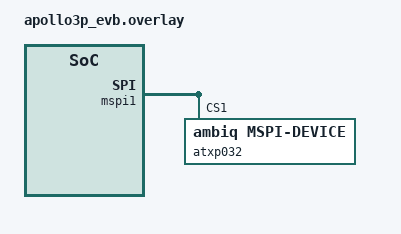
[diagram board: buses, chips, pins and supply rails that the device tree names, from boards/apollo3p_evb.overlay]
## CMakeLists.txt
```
# SPDX-License-Identifier: Apache-2.0

cmake_minimum_required(VERSION 3.28.0)
find_package(Zephyr REQUIRED HINTS $ENV{ZEPHYR_BASE})
project(mspi_flash)

FILE(GLOB app_sources src/*.c)
target_sources(app PRIVATE ${app_sources})

if(CONFIG_FLASH_MSPI)
  target_include_directories(app PRIVATE ${ZEPHYR_BASE}/include/zephyr/drivers)
  target_include_directories(app PRIVATE ${ZEPHYR_BASE}/drivers/mspi)
endif()
```

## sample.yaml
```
sample:
  name: MSPI Flash Sample

common:
  tags:
    - mspi
    - flash
  harness: console
  harness_config:
    type: multi_line
    ordered: true
    regex:
      - "Test 1: Flash erase"
      - "Flash erase succeeded!"
      - "Test 2: Flash write"
      - "Attempting to write 4 bytes"
      - "Data read matches data written. Good!!"

tests:
  sample.drivers.mspi.flash:
    filter: dt_compat_enabled("jedec,spi-nor") or dt_compat_enabled("jedec,mspi-nor")
      or dt_compat_enabled("mspi-atxp032") or dt_compat_enabled("mspi-is25xX0xx")
    platform_exclude:
      - hifive_unmatched/fu740/s7
      - hifive_unmatched/fu740/u74
    platform_allow:
      - apollo3p_evb
      - apollo510_evb
      - arduino_giga_r1/stm32h747xx/m7
      - b_u585i_iot02a
      - stm32h573i_dk
      - stm32h735g_disco
      - stm32l496g_disco
      - stm32l562e_dk
    integration_platforms:
      - apollo3p_evb
      - apollo510_evb

  sample.drivers.mspi.flash.b_m2mem_pack1_mb1927_18ba:
    tags:
      - shield
    platform_allow:
      - nucleo_u3c5zi_q
    integration_platforms:
      - nucleo_u3c5zi_q
    extra_args: SHIELD=b_m2mem_pack1_mb1927_18ba

  sample.drivers.mspi.flash.b_m2mem_pack1_mb1927_33ba:
    tags:
      - shield
    platform_allow:
      - nucleo_u3c5zi_q
    integration_platforms:
      - nucleo_u3c5zi_q
    extra_args: SHIELD=b_m2mem_pack1_mb1927_33ba

  sample.drivers.mspi.flash.b_m2mem_pack1_mb1928_33la:
    tags:
      - shield
    platform_allow:
      - nucleo_u3c5zi_q
    integration_platforms:
      - nucleo_u3c5zi_q
    extra_args: SHIELD=b_m2mem_pack1_mb1928_33la

  sample.drivers.mspi.flash.b_m2mem_pack1_mb1928_33lb:
    tags:
      - shield
    platform_allow:
      - nucleo_u3c5zi_q
    integration_platforms:
      - nucleo_u3c5zi_q
    extra_args: SHIELD=b_m2mem_pack1_mb1928_33lb

  sample.drivers.mspi.flash.memmap.stm32:
    filter: dt_compat_enabled("jedec,spi-nor") or dt_compat_enabled("jedec,mspi-nor")
    extra_configs:
      - CONFIG_MSPI_XIP=y
      - CONFIG_MSPI_DMA=n
    platform_allow:
      - b_u585i_iot02a
```

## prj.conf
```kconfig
CONFIG_STDOUT_CONSOLE=y
CONFIG_FLASH=y
CONFIG_MSPI=y
```

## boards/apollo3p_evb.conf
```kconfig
# Copyright (c) 2024 Ambiq Micro Inc. <www.ambiq.com>
# SPDX-License-Identifier: Apache-2.0

CONFIG_LOG=y
CONFIG_LOG_DEFAULT_LEVEL=0
CONFIG_MSPI_INIT_PRIORITY=40
CONFIG_FLASH_INIT_PRIORITY=50
CONFIG_PM_DEVICE=y
```

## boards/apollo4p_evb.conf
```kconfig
# Copyright (c) 2025, Ambiq Micro Inc. <www.ambiq.com>
# SPDX-License-Identifier: Apache-2.0

CONFIG_LOG=y
CONFIG_LOG_DEFAULT_LEVEL=0
CONFIG_MSPI_INIT_PRIORITY=40
CONFIG_FLASH_INIT_PRIORITY=50
CONFIG_PM_DEVICE=y
CONFIG_PM_DEVICE_RUNTIME=y
```

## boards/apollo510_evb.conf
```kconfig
# Copyright (c) 2025 Ambiq Micro Inc. <www.ambiq.com>
# SPDX-License-Identifier: Apache-2.0
CONFIG_LOG=y
CONFIG_LOG_DEFAULT_LEVEL=0
```

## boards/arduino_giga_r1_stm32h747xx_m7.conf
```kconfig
# Copyright (c) 2025 EXALT Technologies.
# SPDX-License-Identifier: Apache-2.0

CONFIG_LOG=y
CONFIG_MSPI_LOG_LEVEL_INF=y
```

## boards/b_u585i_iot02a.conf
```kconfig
# SPDX-FileCopyrightText: Copyright The Zephyr Project Contributors
# SPDX-License-Identifier: Apache-2.0

CONFIG_LOG=y
CONFIG_MSPI_LOG_LEVEL_INF=y
# below config is for Memory Mapped mode instead of DMA transfer
CONFIG_MSPI_DMA=n
CONFIG_MSPI_MEMMAP=y
```

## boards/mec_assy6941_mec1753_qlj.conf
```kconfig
CONFIG_LOG=y
CONFIG_MSPI_DMA=y
```

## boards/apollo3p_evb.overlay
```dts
/*
 * Copyright (c) 2024 Ambiq Micro Inc. <www.ambiq.com>
 *
 * SPDX-License-Identifier: Apache-2.0
 */

/ {
	aliases {
		flash0 = &atxp032;
	};
};

&gpio64_95 {
	status = "okay";
};

&gpio32_63 {
	status = "okay";
};

&mspi1 {
	pinctrl-0 = <&mspi1_default>;
	pinctrl-1 = <&mspi1_sleep>;
	pinctrl-2 = <&mspi1_psram>;
	pinctrl-3 = <&mspi1_flash>;
	pinctrl-names = "default", "sleep", "psram", "flash";
	status = "okay";

	ce-gpios = <&gpio64_95 5 GPIO_ACTIVE_LOW>,
		   <&gpio32_63 18 GPIO_ACTIVE_LOW>;

	cmdq-buffer-location = ".mspi_buff";
	cmdq-buffer-size = <256>;

	aps6404l: aps6404l@0 {
		compatible = "ambiq,mspi-device", "mspi-aps6404l";
		size = <DT_SIZE_M(64)>;
		reg = <0>;
		status = "disabled";
		mspi-max-frequency = <48000000>;
		mspi-io-mode = "MSPI_IO_MODE_QUAD";
		mspi-data-rate = "MSPI_DATA_RATE_SINGLE";
		mspi-hardware-ce-num = <0>;
		read-command = <0xeb>;
		write-command = <0x38>;
		command-length = "INSTR_1_BYTE";
		address-length = "ADDR_3_BYTE";
		rx-dummy = <6>;
		tx-dummy = <0>;
		memmap-config = <1 0 0 0>;
		ce-break-config = <1024 3>;
		ambiq,timing-config-mask = <3>;
		ambiq,timing-config = <0 6 0 0 0 0 0 0>;
	};

	atxp032: atxp032@1 {
		compatible = "ambiq,mspi-device", "mspi-atxp032";
		size = <DT_SIZE_M(32)>;
		reg = <1>;
		status = "okay";
		mspi-max-frequency = <48000000>;
		mspi-io-mode = "MSPI_IO_MODE_OCTAL";
		mspi-data-rate = "MSPI_DATA_RATE_SINGLE";
		mspi-hardware-ce-num = <0>;
		read-command = <0x0b>;
		write-command = <0x02>;
		command-length = "INSTR_1_BYTE";
		address-length = "ADDR_4_BYTE";
		rx-dummy = <8>;
		tx-dummy = <0>;
		memmap-config = <1 0 0 0>;
		ce-break-config = <0 0>;
		ambiq,timing-config-mask = <3>;
		ambiq,timing-config = <0 8 0 0 0 0 0 0>;
	};
};

&pinctrl {
	mspi1_sleep: mspi1_sleep {
		group1 {
			pinmux = <GPIO_P51>,
				 <GPIO_P52>,
				 <GPIO_P53>,
				 <GPIO_P54>,
				 <GPIO_P55>,
				 <GPIO_P56>,
				 <GPIO_P57>,
				 <GPIO_P58>,
				 <GPIO_P59>,
				 <GPIO_P69>,
				 <GPIO_P50>;
		};
	};

	mspi1_psram: mspi1_psram {
		group1 {
			pinmux = <MSPI1_0_P51>,
				 <MSPI1_1_P52>,
				 <MSPI1_2_P53>,
				 <MSPI1_3_P54>,
				 <MSPI1_4_P55>,
				 <MSPI1_5_P56>,
				 <MSPI1_6_P57>,
				 <MSPI1_7_P58>;
			drive-strength = "0.75";
			ambiq,iom-mspi = <0>;
			ambiq,iom-num = <1>;
		};

		group2 {
			pinmux = <MSPI1_8_P59>;
			drive-strength = "0.75";
			ambiq,iom-mspi = <0>;
			ambiq,iom-num = <2>;
		};

		group3 {
			pinmux = <NCE69_P69>;
			drive-strength = "1.0";
			ambiq,iom-mspi = <0>;
			ambiq,iom-num = <1>;
		};

		group4 {
			pinmux = <GPIO_P50>;
		};
	};

	mspi1_flash: mspi1_flash {
		group1 {
			pinmux = <MSPI1_0_P51>,
				 <MSPI1_1_P52>,
				 <MSPI1_2_P53>,
				 <MSPI1_3_P54>,
				 <MSPI1_4_P55>,
				 <MSPI1_5_P56>,
				 <MSPI1_6_P57>,
				 <MSPI1_7_P58>;
			drive-strength = "0.75";
			ambiq,iom-mspi = <0>;
			ambiq,iom-num = <1>;
		};

		group2 {
			pinmux = <MSPI1_8_P59>;
			drive-strength = "0.75";
			ambiq,iom-mspi = <0>;
			ambiq,iom-num = <2>;
		};

		group3 {
			pinmux = <NCE50_P50>;
			drive-strength = "1.0";
			ambiq,iom-mspi = <0>;
			ambiq,iom-num = <1>;
		};

		group4 {
			pinmux = <GPIO_P69>;
		};
	};
};
```

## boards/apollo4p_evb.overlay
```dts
/*
 * Copyright (c) 2024, Ambiq Micro Inc. <www.ambiq.com>
 *
 * SPDX-License-Identifier: Apache-2.0
 */

/ {
	aliases {
		flash0 = &atxp032;
	};
};

&gpio64_95 {
	status = "okay";
};

&gpio32_63 {
	status = "okay";
};

&mspi1 {
	pinctrl-0 = <&mspi1_default>;
	pinctrl-1 = <&mspi1_sleep>;
	pinctrl-2 = <&mspi1_flash>;
	pinctrl-names = "default","sleep","flash";
	status = "okay";

	ce-gpios = <&gpio64_95 25 GPIO_ACTIVE_LOW>;

	cmdq-buffer-location = ".mspi_buff";
	cmdq-buffer-size = <256>;

	dqs-support;

	atxp032: atxp032@0 {
		compatible = "ambiq,mspi-device", "mspi-atxp032";
		size = <DT_SIZE_M(32)>;
		reg = <0>;
		status = "okay";
		mspi-max-frequency = <48000000>;
		mspi-io-mode = "MSPI_IO_MODE_OCTAL";
		mspi-data-rate = "MSPI_DATA_RATE_SINGLE";
		mspi-hardware-ce-num = <0>;
		read-command = <0x0B>;
		write-command = <0x02>;
		command-length = "INSTR_1_BYTE";
		address-length = "ADDR_4_BYTE";
		rx-dummy = <8>;
		tx-dummy = <0>;
		xip-config = <0 0 0 0>;
		ce-break-config = <0 0>;
		ambiq,timing-config-mask = <3>;
		ambiq,timing-config = <0 8 0 0 0 0 16 0>;
		scramble-config = <0 0 0>;
		mspi-dqs-enable;
	};
};

&pinctrl {
	mspi1_sleep: mspi1_sleep{
		group1 {
			pinmux = <GPIO_P37>,
				 <GPIO_P38>,
				 <GPIO_P39>,
				 <GPIO_P40>,
				 <GPIO_P41>,
				 <GPIO_P42>,
				 <GPIO_P43>,
				 <GPIO_P44>,
				 <GPIO_P45>,
				 <GPIO_P89>;
		};
	};
	mspi1_flash: mspi1_flash{
		group1 {
			pinmux = <MSPI1_0_P37>,
				 <MSPI1_1_P38>,
				 <MSPI1_2_P39>,
				 <MSPI1_3_P40>,
				 <MSPI1_4_P41>,
				 <MSPI1_5_P42>,
				 <MSPI1_6_P43>,
				 <MSPI1_7_P44>,
				 <MSPI1_9_P46>;
			drive-strength = "1.0";
		};
		group2 {
			pinmux = <MSPI1_8_P45>;
			drive-strength = "1.0";
			ambiq,iom-nce-module = <0>;
			ambiq,iom-num = <2>;
		};
		group3 {
			pinmux = <NCE89_P89>;
			drive-strength = "0.5";
			ambiq,iom-num = <1>;
			ambiq,iom-nce-module = <34>;
		};
	};
};
```

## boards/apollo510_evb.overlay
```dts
/*
 * Copyright (c) 2025, Ambiq Micro Inc. <www.ambiq.com>
 *
 * SPDX-License-Identifier: Apache-2.0
 */

/ {
	aliases {
		flash0 = &is25wx064;
	};
};

&mspi1 {
	status = "okay";
};

&is25wx064 {
	status = "okay";
};
```

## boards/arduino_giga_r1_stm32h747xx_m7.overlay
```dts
/*
 * Copyright (c) 2025 EXALT Technologies.
 *
 * SPDX-License-Identifier: Apache-2.0
 */

/* Replace the quadspi by a "st,stm32-qspi-controller" compatible */
/delete-node/ &quadspi;

/ {
	aliases {
		/* The sample gets the DT_ALIAS(flash0) as the mspi device */
		flash0 = &n25q128a;
	};

	qspi_memory: qspi-memory@90000000 {
		compatible = "zephyr,memory-region";
		reg = <0x90000000 DT_SIZE_M(256)>;
		device_type = "memory";
		zephyr,memory-region = "QSPI";
		zephyr,memory-attr = <DT_MEM_ARM(ATTR_MPU_FLASH)>;
	};

	soc {
		quadspi: spi@52005000 {
			compatible = "st,stm32-qspi-controller";
			reg = <0x52005000 0x1000>, <0x90000000 DT_SIZE_M(256)>;
			interrupts = <92 0>;
			clocks = <&rcc STM32_CLOCK(AHB3, 14U)>;
			clock-names = "qspix";
			#address-cells = <1>;
			#size-cells = <0>;
			clock-frequency = <DT_FREQ_M(72)>;
			op-mode = "MSPI_OP_MODE_CONTROLLER";
			duplex = "MSPI_HALF_DUPLEX";
			pinctrl-0 = <&quadspi_clk_pf10 &quadspi_bk1_ncs_pg6
				     &quadspi_bk1_io0_pd11 &quadspi_bk1_io1_pd12
				     &quadspi_bk1_io2_pe2 &quadspi_bk1_io3_pf6>;
			pinctrl-names = "default";

			status = "okay";

			n25q128a: qspi-nor-flash@0 {
				compatible = "jedec,nor";
				reg = <0>;
				size = <DT_SIZE_M(128)>; /* 128 Mbits */

				mspi-max-frequency = <DT_FREQ_M((72))>;
				mspi-io-mode = "MSPI_IO_MODE_SINGLE";
				mspi-data-rate = "MSPI_DATA_RATE_SINGLE";
				mspi-hardware-ce-num = <0>;
				read-command = <0x0b>;
				write-command = <0x02>;
				command-length = "INSTR_1_BYTE";
				address-length = "ADDR_3_BYTE";
				rx-dummy = <8>;
				tx-dummy = <0>;
				jedec-id = [1f 89 01];
				status = "okay";

				partitions {
					compatible = "fixed-partitions";
					#address-cells = <1>;
					#size-cells = <1>;

					slot1_partition: partition@0 {
						reg = <0x00000000 DT_SIZE_M(1)>;
						label = "image-1";
					};

					storage_partition: partition@100000 {
						reg = <0x00100000 DT_SIZE_M(15)>;
						label = "storage";
					};
				};
			};
		};
	};
};
```

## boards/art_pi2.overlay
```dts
/*
 * SPDX-FileCopyrightText: Copyright The Zephyr Project Contributors
 * SPDX-License-Identifier: Apache-2.0
 */

/ {
	aliases {
		flash0 = &ext_flash_ctrl;
	};
};
```

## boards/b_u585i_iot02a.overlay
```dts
/*
 * Copyright (c) 2025 EXALT Technologies.
 *
 * SPDX-License-Identifier: Apache-2.0
 */

/* Replace the octospi2 by a "st,stm32-ospi-controller" compatible */
/delete-node/ &octospi2;

/ {
	aliases {
		/* The sample gets the DT_ALIAS(flash0) as the mspi device */
		flash0 = &mx25lm51245;
	};

	soc {
		octospi2: spi@420d2400 {
			compatible = "st,stm32-ospi-controller";
			reg = <0x420d2400 0x400>, <0x70000000 DT_SIZE_M(256)>;
			interrupts = <120 0>;
			clock-names = "ospix", "ospi-ker", "ospi-mgr";
			clocks = <&rcc STM32_CLOCK(AHB2_2, 8)>,
				 <&rcc STM32_SRC_SYSCLK OCTOSPI_SEL(0)>,
				 <&rcc STM32_CLOCK(AHB2, 21)>;
			clock-frequency = <DT_FREQ_M(50)>;
			#address-cells = <1>;
			#size-cells = <0>;
			op-mode = "MSPI_OP_MODE_CONTROLLER";
			pinctrl-0 = <&octospim_p2_clk_pf4 &octospim_p2_ncs_pi5
				     &octospim_p2_io0_pf0 &octospim_p2_io1_pf1
				     &octospim_p2_io2_pf2 &octospim_p2_io3_pf3
				     &octospim_p2_io4_ph9 &octospim_p2_io5_ph10
				     &octospim_p2_io6_ph11 &octospim_p2_io7_ph12
				     &octospim_p2_dqs_pf12>;
			pinctrl-names = "default";
			dmas = <&gpdma1 12 41 0x10480>; /* request 41 for OCTOSPI2 */
			dma-names = "tx_rx";
			st,dqs-port = <2>;
			status = "okay";

			mx25lm51245: ospi-nor-flash@0 {
				compatible = "st,nor", "mxicy,mx25u", "jedec,nor";
				reg = <0>;
				size = <DT_SIZE_M(512)>; /* 512 Megabits */
				mspi-max-frequency = <DT_FREQ_M(50)>;
				mspi-io-mode = "MSPI_IO_MODE_OCTAL";
				mspi-data-rate = "MSPI_DATA_RATE_DUAL"; /* as first step */
				mspi-hardware-ce-num = <0>;
				st,mem-type = "macronix";
				read-command = <0xee11>;                /* ReaD 4Bytes */
				command-length = "INSTR_2_BYTE";
				write-command = <0x12ed>; /* WRite 4Bytes */
				rx-dummy = <20>;
				jedec-id = [c2 85 3a];
				status = "okay";

				/* Allow Rd and Wr in MemoryMapped mode (permission = 0) */
				memmap-config = <1 0 DT_SIZE_M(64) 0>;

				partitions {
					compatible = "fixed-partitions";
					#address-cells = <1>;
					#size-cells = <1>;

					partition@0 {
						label = "nor";
						reg = <0x00000000 DT_SIZE_M(4)>;
					};
				};
			};
		};
	};
};
```

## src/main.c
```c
/*
 * Copyright (c) 2024 Ambiq Micro Inc. <www.ambiq.com>
 *
 * SPDX-License-Identifier: Apache-2.0
 */

#include <zephyr/kernel.h>
#include <zephyr/drivers/flash.h>
#include <zephyr/device.h>
#include <zephyr/devicetree.h>
#include <zephyr/cache.h>
#include <stdio.h>
#include <string.h>

#define SPI_FLASH_TEST_REGION_OFFSET 0xff000

#define SPI_FLASH_SECTOR_SIZE        4096

#define SPI_FLASH_MULTI_SECTOR_TEST

int single_sector_test(const struct device *flash_dev)
{
	const uint8_t expected[] __dcacheline_aligned = {0x55, 0xaa, 0x66, 0x99};
	const size_t len = sizeof(expected);
	uint8_t buf[sizeof(expected)] __dcacheline_aligned;

	int rc;

	printf("\nPerform test on single sector");
	/* Write protection needs to be disabled before each write or
	 * erase, since the flash component turns on write protection
	 * automatically after completion of write and erase
	 * operations.
	 */
	printf("\nTest 1: Flash erase\n");

	/* Full flash erase if SPI_FLASH_TEST_REGION_OFFSET = 0 and
	 * SPI_FLASH_SECTOR_SIZE = flash size
	 */
	rc = flash_erase(flash_dev, SPI_FLASH_TEST_REGION_OFFSET,
			 SPI_FLASH_SECTOR_SIZE);
	if (rc != 0) {
		printf("Flash erase failed! %d\n", rc);
	} else {
		printf("Flash erase succeeded!\n");
	}

	printf("\nTest 2: Flash write\n");

	printf("Attempting to write %zu bytes\n", len);
	rc = flash_write(flash_dev, SPI_FLASH_TEST_REGION_OFFSET, expected, len);
	if (rc != 0) {
		printf("Flash write failed! %d\n", rc);
		return 1;
	}

	memset(buf, 0, len);
	rc = flash_read(flash_dev, SPI_FLASH_TEST_REGION_OFFSET, buf, len);
	if (rc != 0) {
		printf("Flash read failed! %d\n", rc);
		return 1;
	}

	if (memcmp(expected, buf, len) == 0) {
		printf("Data read matches data written. Good!!\n");
	} else {
		const uint8_t *wp = expected;
		const uint8_t *rp = buf;
		const uint8_t *rpe = rp + len;

		printf("Data read does not match data written!!\n");
		while (rp < rpe) {
			printf("%08x wrote %02x read %02x %s\n",
			       (uint32_t)(SPI_FLASH_TEST_REGION_OFFSET + (rp - buf)),
			       *wp, *rp, (*rp == *wp) ? "match" : "MISMATCH");
			++rp;
			++wp;
		}
	}
	return rc;
}

#if defined SPI_FLASH_MULTI_SECTOR_TEST
int multi_sector_test(const struct device *flash_dev)
{
	const uint8_t expected[] __dcacheline_aligned = {0x55, 0xaa, 0x66, 0x99};
	const size_t len = sizeof(expected);
	uint8_t buf[sizeof(expected)] __dcacheline_aligned;
	int rc;

	printf("\nPerform test on multiple consecutive sectors");

	/* Write protection needs to be disabled before each write or
	 * erase, since the flash component turns on write protection
	 * automatically after completion of write and erase
	 * operations.
	 */
	printf("\nTest 1: Flash erase\n");

	/* Full flash erase if SPI_FLASH_TEST_REGION_OFFSET = 0 and
	 * SPI_FLASH_SECTOR_SIZE = flash size
	 * Erase 2 sectors for check for erase of consecutive sectors
	 */
	rc = flash_erase(flash_dev, SPI_FLASH_TEST_REGION_OFFSET, SPI_FLASH_SECTOR_SIZE * 2);
	if (rc != 0) {
		printf("Flash erase failed! %d\n", rc);
	} else {
		/* Read the content and check for erased */
		memset(buf, 0, len);
		size_t offs = SPI_FLASH_TEST_REGION_OFFSET;

		while (offs < SPI_FLASH_TEST_REGION_OFFSET + 2 * SPI_FLASH_SECTOR_SIZE) {
			rc = flash_read(flash_dev, offs, buf, len);
			if (rc != 0) {
				printf("Flash read failed! %d\n", rc);
				return 1;
			}
			if (buf[0] != 0xff) {
				printf("Flash erase failed at offset 0x%x got 0x%x\n",
				offs, buf[0]);
				return 1;
			}
			offs += SPI_FLASH_SECTOR_SIZE;
		}
		printf("Flash erase succeeded!\n");
	}

	printf("\nTest 2: Flash write\n");

	size_t offs = SPI_FLASH_TEST_REGION_OFFSET;

	while (offs < SPI_FLASH_TEST_REGION_OFFSET + 2 * SPI_FLASH_SECTOR_SIZE) {
		printf("Attempting to write %zu bytes at offset 0x%x\n", len, offs);
		rc = flash_write(flash_dev, offs, expected, len);
		if (rc != 0) {
			printf("Flash write failed! %d\n", rc);
			return 1;
		}

		memset(buf, 0, len);
		rc = flash_read(flash_dev, offs, buf, len);
		if (rc != 0) {
			printf("Flash read failed! %d\n", rc);
			return 1;
		}

		if (memcmp(expected, buf, len) == 0) {
			printf("Data read matches data written. Good!!\n");
		} else {
			const uint8_t *wp = expected;
			const uint8_t *rp = buf;
			const uint8_t *rpe = rp + len;

			printf("Data read does not match data written!!\n");
			while (rp < rpe) {
				printf("%08x wrote %02x read %02x %s\n",
					(uint32_t)(offs + (rp - buf)),
					*wp, *rp, (*rp == *wp) ? "match" : "MISMATCH");
				++rp;
				++wp;
			}
		}
		offs += SPI_FLASH_SECTOR_SIZE;
	}
	return rc;
}
#endif

int main(void)
{
#if DT_HAS_ALIAS(ext_nor0)
	const struct device *flash_dev = DEVICE_DT_GET(DT_ALIAS(ext_nor0));
#else
	const struct device *flash_dev = DEVICE_DT_GET(DT_ALIAS(flash0));
#endif

	if (!device_is_ready(flash_dev)) {
		printk("%s: device not ready.\n", flash_dev->name);
		return 1;
	}

	printf("\n%s SPI flash testing\n", flash_dev->name);
	printf("==========================\n");

	if (single_sector_test(flash_dev)) {
		return 1;
	}
#if defined SPI_FLASH_MULTI_SECTOR_TEST
	if (multi_sector_test(flash_dev)) {
		return 1;
	}
#endif
	printf("==========================\n");
	return 0;
}
```
